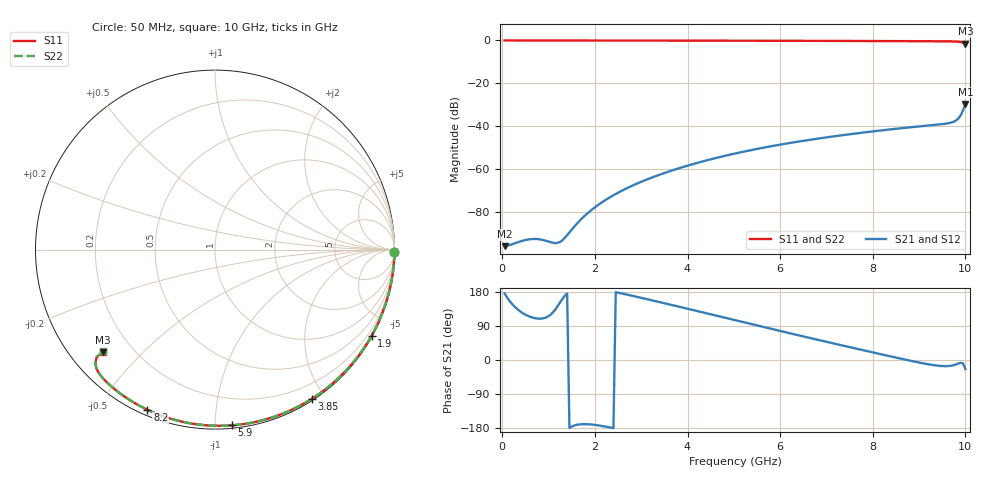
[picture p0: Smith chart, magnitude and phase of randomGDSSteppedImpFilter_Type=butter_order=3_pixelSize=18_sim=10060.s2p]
! freq	dB(S11)	phase(S11)	dB(S12)	phase(S12)
!  dB(S21)	phase(S21)	dB(S22)	phase(S22)
!S-par simulation data
#  GHz  S  DB  R 50
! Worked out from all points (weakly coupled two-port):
!   200 points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, 50 MHz to 10 GHz, reference 50 ohm
!   highest |S21| = -29.74 dB at 10 GHz (marker M1); lowest = -96.2 dB at 50 MHz (marker M2)
!   lowest |S11| = -1.4 dB at 10 GHz (marker M3), VSWR 12.11, Z = 4.74 - j19.2 ohm
!   |S11| at or under -10 dB: nowhere
!   |S22| runs from -1.5 to 0.0 dB; largest |S21 - S12| = 0
!   S11 on the Smith chart (normalised r, x): 50 MHz: open; 1.9 GHz: 0.03, -3.89; 3.85 GHz: 0.02, -1.84; 5.9 GHz: 0.02, -1.10; 8.2 GHz: 0.02, -0.66; 10 GHz: 0.09, -0.38
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0.05  -0.00 -0.8  -96.15 175.8  -96.15 175.8  -0.00 -0.8
0.9  -0.01 -13.8  -93.38 110.6  -93.38 110.6  -0.01 -13.8
1.75  -0.03 -26.6  -82.56 -169.2  -82.56 -169.2  -0.03 -26.6
1.9  -0.04 -28.8  -79.69 -169.9  -79.69 -169.9  -0.04 -28.9
2.2  -0.04 -33.3  -74.97 -175.1  -74.97 -175.1  -0.04 -33.3
2.55  -0.05 -38.4  -70.58 176.4  -70.58 176.4  -0.05 -38.4
2.95  -0.06 -44.2  -66.51 165.5  -66.51 165.5  -0.06 -44.2
3.4  -0.07 -50.7  -62.71 152.7  -62.71 152.7  -0.07 -50.7
3.85  -0.08 -57.0  -59.49 139.7  -59.49 139.7  -0.08 -57.0
4.45  -0.09 -65.3  -55.83 122.2  -55.83 122.2  -0.09 -65.3
5.05  -0.11 -73.3  -52.73 104.5  -52.73 104.5  -0.11 -73.4
5.9  -0.14 -84.4  -49.07 79.5  -49.07 79.5  -0.14 -84.5
6.7  -0.18 -94.6  -46.24 56.5  -46.24 56.5  -0.18 -94.6
8.2  -0.28 -112.9  -42.00 14.6  -42.00 14.6  -0.28 -112.9
8.35  -0.29 -114.7  -41.64 10.5  -41.64 10.5  -0.29 -114.7
9.2  -0.37 -125.0  -39.78 -11.3  -39.78 -11.3  -0.37 -125.1
9.7  -0.46 -132.1  -38.32 -14.9  -38.32 -14.9  -0.46 -132.2
9.8  -0.53 -134.0  -37.36 -11.6  -37.36 -11.6  -0.53 -134.1
9.85  -0.60 -135.1  -36.45 -9.2  -36.45 -9.2  -0.61 -135.3
9.9  -0.73 -136.4  -34.95 -7.3  -34.95 -7.3  -0.74 -136.6
9.95  -0.99 -137.7  -32.60 -9.3  -32.60 -9.3  -1.02 -137.8
10  -1.44 -137.6  -29.74 -23.8  -29.74 -23.8  -1.49 -137.7
